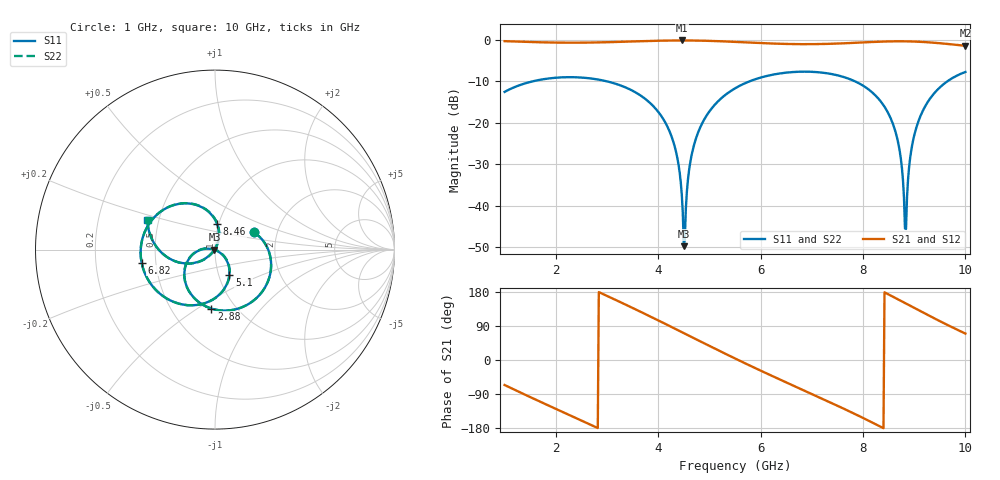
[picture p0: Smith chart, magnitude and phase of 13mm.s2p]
! Touchstone file exported from HFSS 2018.2.0
!  File:  C:/Users/10024/OneDrive - The University of Nottingham Ningbo China/Year 4/Final Year Project/HFSS project/Passive_Resonator_Antenna.aedt
!  Generated:  12:15:21 下午  3月 12, 2022
!  Design:  SMA_Thru
!  Project:  Passive_Resonator_Antenna
!  Setup:  Setup1
!  Solution:  Sweep
! Variables:
!  MW = 1mm
!  ThruL = 13mm
!  g = 0.2mm
!  subH = 0.8mm
!  subX = 20mm
!  subY = 23mm
!  tapW = 1mm
# GHZ S MA R 50.000000
! Modal data exported
! Port[1] = SMA_CONNECTOR1_1:1
! Port[2] = SMA_CONNECTOR2_1:1
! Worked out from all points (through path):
!   451 points, 1 GHz to 10 GHz, reference 50 ohm
!   highest |S21| = -0.09 dB at 4.46 GHz (marker M1); lowest = -1.4 dB at 10 GHz (marker M2)
!   group delay of S21, straight-line fit = 180 ps
!   lowest |S11| = -49.8 dB at 4.5 GHz (marker M3), VSWR 1.01, Z = 49.7 - j0.126 ohm
!   |S11| at or under -10 dB: start of sweep to 1.538 GHz; 3.007 GHz to 5.778 GHz (2.771 GHz wide, 63.1 % of centre); 7.849 GHz to 9.644 GHz (1.795 GHz wide, 20.5 % of centre)
!   |S22| runs from -52.3 to -7.6 dB; largest |S21 - S12| = 6.8e-14
!   S11 on the Smith chart (normalised r, x): 1 GHz: 1.51, +0.31; 2.88 GHz: 0.78, -0.57; 5.1 GHz: 1.12, -0.33; 6.82 GHz: 0.42, -0.07; 8.46 GHz: 0.98, +0.28; 10 GHz: 0.43, +0.17
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1  0.2365 23.9  0.9702 -66.1  0.9702 -66.1  0.2365 23.8
! Gamma ! 0.0151858380091428 30.3716836111719 0.0151858380091333 30.3716836112104
! Port Impedance50 0 50 0
1.7  0.3319 -20.5  0.9402 -110.4  0.9402 -110.4  0.3319 -20.6
2.5  0.3524 -70.0  0.9306 -159.7  0.9306 -159.7  0.3524 -70.1
2.88  0.3289 -93.6  0.9382 176.7  0.9382 176.7  0.3289 -93.8
4  0.1359 -165.2  0.9817 104.6  0.9817 104.6  0.136 -166.0
4.32  0.05239 174.8  0.9886 83.1  0.9886 83.1  0.05239 172.5
4.46  0.01376 172.2  0.9894 73.7  0.9894 73.7  0.01364 163.2
4.5  0.003232 -156.9  0.9894 71.0  0.9894 71.0  0.002425 161.3
4.7  0.05414 -35.6  0.9872 57.4  0.9872 57.4  0.05403 -33.3
5.1  0.1641 -61.0  0.9737 30.5  0.9737 30.5  0.164 -60.3
5.5  0.2609 -87.2  0.9513 4.1  0.9513 4.1  0.2608 -86.9
6.2  0.3778 -131.8  0.9098 -40.5  0.9098 -40.5  0.3777 -131.7
6.82  0.4152 -170.0  0.8924 -78.7  0.8924 -78.7  0.4152 -170.0
7  0.4135 179.0  0.8928 -89.7  0.8928 -89.7  0.4135 178.9
7.7  0.345 135.3  0.9183 -133.3  0.9183 -133.3  0.3451 135.0
8.46  0.1425 85.3  0.9618 175.8  0.9618 175.8  0.1428 84.4
8.5  0.1282 82.7  0.9632 173.0  0.9632 173.0  0.1285 81.7
8.7  0.05241 70.7  0.9666 158.9  0.9666 158.9  0.05282 68.4
8.84  0.005218 -162.3  0.9653 149.0  0.9653 149.0  0.003651 -142.7
8.96  0.05363 -135.0  0.9615 140.4  0.9615 140.4  0.05285 -132.9
9.14  0.1281 -145.9  0.9511 127.6  0.9511 127.6  0.1272 -145.1
10  0.4115 156.3  0.8532 69.8  0.8532 69.8  0.41 156.5
